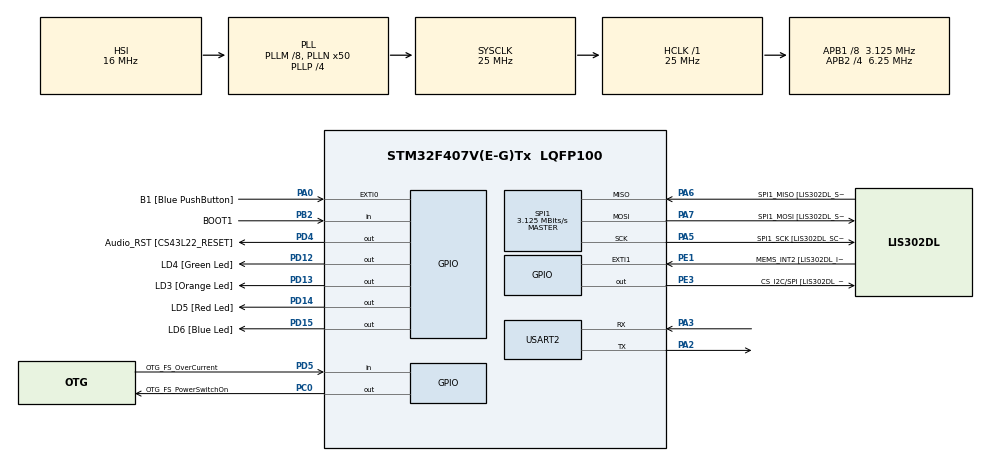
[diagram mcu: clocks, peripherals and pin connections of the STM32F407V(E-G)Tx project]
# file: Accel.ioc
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Mcu.Family=STM32F4
Mcu.Name=STM32F407V(E-G)Tx
Mcu.Package=LQFP100
NVIC.PriorityGroup=NVIC_PRIORITYGROUP_0
NVIC.SPI1_IRQn=true\:0\:0\:false\:false\:true
PA0-WKUP.GPIO_Label=B1 [Blue PushButton]
PA0-WKUP.GPIO_ModeDefaultEXTI=GPIO_MODE_EVT_RISING
PA0-WKUP.GPIO_PuPd=GPIO_NOPULL
PA0-WKUP.Signal=GPXTI0
PA10.GPIO_Label=OTG_FS_ID
PA10.GPIO_Mode=GPIO_MODE_AF_PP
PA10.GPIO_PuPd=GPIO_NOPULL
PA10.GPIO_Speed=GPIO_SPEED_FREQ_LOW
PA10.Signal=USB_OTG_FS_ID
PA11.GPIO_Label=OTG_FS_DM
PA11.GPIO_Mode=GPIO_MODE_AF_PP
PA11.GPIO_PuPd=GPIO_NOPULL
PA11.GPIO_Speed=GPIO_SPEED_FREQ_LOW
PA11.Signal=USB_OTG_FS_DM
PA12.GPIO_Label=OTG_FS_DP
PA12.GPIO_Mode=GPIO_MODE_AF_PP
PA12.GPIO_PuPd=GPIO_NOPULL
PA12.GPIO_Speed=GPIO_SPEED_FREQ_LOW
PA12.Signal=USB_OTG_FS_DP
PA13.GPIO_Label=SWDIO
PA13.Signal=SYS_JTMS-SWDIO
PA14.GPIO_Label=SWCLK
PA14.Signal=SYS_JTCK-SWCLK
PA2.Mode=Asynchronous
PA2.Signal=USART2_TX
PA3.Mode=Asynchronous
PA3.Signal=USART2_RX
PA4.GPIO_Label=I2S3_WS [CS43L22_LRCK]
PA4.GPIO_Mode=GPIO_MODE_AF_PP
PA4.GPIO_PuPd=GPIO_NOPULL
PA4.GPIO_Speed=GPIO_SPEED_FREQ_LOW
PA4.Signal=I2S3_WS
PA5.GPIO_Label=SPI1_SCK [LIS302DL_SCL/SPC]
PA5.GPIO_Mode=GPIO_MODE_AF_PP
PA5.GPIO_PuPd=GPIO_NOPULL
PA5.GPIO_Speed=GPIO_SPEED_FREQ_LOW
PA5.Mode=Full_Duplex_Master
PA5.Signal=SPI1_SCK
PA6.GPIO_Label=SPI1_MISO [LIS302DL_SDO]
PA6.GPIO_Mode=GPIO_MODE_AF_PP
PA6.GPIO_PuPd=GPIO_NOPULL
PA6.GPIO_Speed=GPIO_SPEED_FREQ_LOW
PA6.Mode=Full_Duplex_Master
PA6.Signal=SPI1_MISO
PA7.GPIO_Label=SPI1_MOSI [LIS302DL_SDA/SDI/SDO]
PA7.GPIO_Mode=GPIO_MODE_AF_PP
PA7.GPIO_PuPd=GPIO_NOPULL
PA7.GPIO_Speed=GPIO_SPEED_FREQ_LOW
PA7.Mode=Full_Duplex_Master
PA7.Signal=SPI1_MOSI
PA9.GPIO_Label=VBUS_FS
PA9.GPIO_Mode=GPIO_MODE_INPUT
PA9.GPIO_PuPd=GPIO_NOPULL
PA9.Signal=USB_OTG_FS_VBUS
PB10.GPIO_Label=CLK_IN [MP45DT02_CLK]
PB10.GPIO_Mode=GPIO_MODE_AF_PP
PB10.GPIO_PuPd=GPIO_NOPULL
PB10.GPIO_Speed=GPIO_SPEED_FREQ_LOW
PB10.Signal=I2S2_CK
PB2.GPIO_Label=BOOT1
PB2.GPIO_Mode=GPIO_MODE_INPUT
PB2.GPIO_PuPd=GPIO_NOPULL
PB2.Signal=GPIO_Input
PB3.GPIO_Label=SWO
PB3.Signal=SYS_JTDO-SWO
PB6.GPIO_Label=Audio_SCL [CS43L22_SCL]
PB6.GPIO_Mode=GPIO_MODE_AF_OD
PB6.GPIO_PuPd=GPIO_NOPULL
PB6.GPIO_Speed=GPIO_SPEED_FREQ_LOW
PB6.Signal=I2C1_SCL
PB9.GPIO_Label=Audio_SDA [CS43L22_SDA]
PB9.GPIO_Mode=GPIO_MODE_AF_OD
PB9.GPIO_PuPd=GPIO_NOPULL
PB9.GPIO_Speed=GPIO_SPEED_FREQ_LOW
PB9.Signal=I2C1_SDA
PC0.GPIO_Label=OTG_FS_PowerSwitchOn
PC0.GPIO_PuPd=GPIO_NOPULL
PC0.GPIO_Speed=GPIO_SPEED_FREQ_LOW
PC0.PinState=GPIO_PIN_SET
PC0.Signal=GPIO_Output
PC10.GPIO_Label=I2S3_SCK [CS43L22_SCLK]
PC10.GPIO_Mode=GPIO_MODE_AF_PP
PC10.GPIO_PuPd=GPIO_NOPULL
PC10.GPIO_Speed=GPIO_SPEED_FREQ_LOW
PC10.Signal=I2S3_CK
PC12.GPIO_Label=I2S3_SD [CS43L22_SDIN]
PC12.GPIO_Mode=GPIO_MODE_AF_PP
PC12.GPIO_PuPd=GPIO_NOPULL
PC12.GPIO_Speed=GPIO_SPEED_FREQ_LOW
PC12.Signal=I2S3_SD
PC14-OSC32_IN.GPIO_Label=PC14-OSC32_IN
PC14-OSC32_IN.Signal=RCC_OSC32_IN
PC15-OSC32_OUT.GPIO_Label=PC15-OSC32_OUT
PC15-OSC32_OUT.Signal=RCC_OSC32_OUT
PC3.GPIO_Label=PDM_OUT [MP45DT02_DOUT]
PC3.GPIO_Mode=GPIO_MODE_AF_PP
PC3.GPIO_PuPd=GPIO_NOPULL
PC3.GPIO_Speed=GPIO_SPEED_FREQ_LOW
PC3.Signal=I2S2_SD
PC7.GPIO_Label=I2S3_MCK [CS43L22_MCLK]
PC7.GPIO_Mode=GPIO_MODE_AF_PP
PC7.GPIO_PuPd=GPIO_NOPULL
PC7.GPIO_Speed=GPIO_SPEED_FREQ_LOW
PC7.Signal=I2S3_MCK
PD12.GPIO_Label=LD4 [Green Led]
PD12.GPIO_PuPd=GPIO_NOPULL
PD12.GPIO_Speed=GPIO_SPEED_FREQ_LOW
PD12.Signal=GPIO_Output
PD13.GPIO_Label=LD3 [Orange Led]
PD13.GPIO_PuPd=GPIO_NOPULL
PD13.GPIO_Speed=GPIO_SPEED_FREQ_LOW
PD13.Signal=GPIO_Output
PD14.GPIO_Label=LD5 [Red Led]
PD14.GPIO_PuPd=GPIO_NOPULL
PD14.GPIO_Speed=GPIO_SPEED_FREQ_LOW
PD14.Signal=GPIO_Output
PD15.GPIO_Label=LD6 [Blue Led]
PD15.GPIO_PuPd=GPIO_NOPULL
PD15.GPIO_Speed=GPIO_SPEED_FREQ_LOW
PD15.Signal=GPIO_Output
PD4.GPIO_Label=Audio_RST [CS43L22_RESET]
PD4.GPIO_PuPd=GPIO_NOPULL
PD4.GPIO_Speed=GPIO_SPEED_FREQ_LOW
PD4.Signal=GPIO_Output
PD5.GPIO_Label=OTG_FS_OverCurrent
PD5.GPIO_Mode=GPIO_MODE_INPUT
PD5.GPIO_PuPd=GPIO_NOPULL
PD5.Signal=GPIO_Input
PE1.GPIO_Label=MEMS_INT2 [LIS302DL_INT2]
PE1.GPIO_ModeDefaultEXTI=GPIO_MODE_EVT_RISING
PE1.GPIO_PuPd=GPIO_NOPULL
PE1.Signal=GPXTI1
PE3.GPIO_Label=CS_I2C/SPI [LIS302DL_CS_I2C/SPI]
PE3.GPIO_PuPd=GPIO_NOPULL
PE3.GPIO_Speed=GPIO_SPEED_FREQ_LOW
PE3.Signal=GPIO_Output
PH0-OSC_IN.GPIO_Label=PH0-OSC_IN
PH0-OSC_IN.Signal=RCC_OSC_IN
PH1-OSC_OUT.GPIO_Label=PH1-OSC_OUT
PH1-OSC_OUT.Signal=RCC_OSC_OUT
ProjectManager.HeapSize=0x200
ProjectManager.StackSize=0x400
ProjectManager.TargetToolchain=SW4STM32
RCC.48MHZClocksFreq_Value=14285714.285714285
RCC.AHBFreq_Value=25000000
RCC.APB1CLKDivider=RCC_HCLK_DIV8
RCC.APB1Freq_Value=3125000
RCC.APB1TimFreq_Value=6250000
RCC.APB2CLKDivider=RCC_HCLK_DIV4
RCC.APB2Freq_Value=6250000
RCC.APB2TimFreq_Value=12500000
RCC.CortexFreq_Value=25000000
RCC.HCLKFreq_Value=25000000
RCC.HSE_VALUE=8000000
RCC.HSI_VALUE=16000000
RCC.LSE_VALUE=32768
RCC.PLLM=8
RCC.PLLN=50
RCC.PLLP=RCC_PLLP_DIV4
RCC.PLLQ=7
RCC.SYSCLKFreq_VALUE=25000000
RCC.SYSCLKSource=RCC_SYSCLKSOURCE_PLLCLK
RCC.VCOOutputFreq_Value=100000000
SPI1.CalculateBaudRate=3.125 MBits/s
SPI1.Mode=SPI_MODE_MASTER
board=STM32F4DISCOVERY

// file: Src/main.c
/**
  ******************************************************************************
  * File Name          : main.c
  * Description        : Main program body
  ******************************************************************************
  *
  * COPYRIGHT(c) 2016 STMicroelectronics
  *
  * Redistribution and use in source and binary forms, with or without modification,
  * are permitted provided that the following conditions are met:
  *   1. Redistributions of source code must retain the above copyright notice,
  *      this list of conditions and the following disclaimer.
  *   2. Redistributions in binary form must reproduce the above copyright notice,
  *      this list of conditions and the following disclaimer in the documentation
  *      and/or other materials provided with the distribution.
  *   3. Neither the name of STMicroelectronics nor the names of its contributors
  *      may be used to endorse or promote products derived from this software
  *      without specific prior written permission.
  *
  * THIS SOFTWARE IS PROVIDED BY THE COPYRIGHT HOLDERS AND CONTRIBUTORS "AS IS"
  * AND ANY EXPRESS OR IMPLIED WARRANTIES, INCLUDING, BUT NOT LIMITED TO, THE
  * IMPLIED WARRANTIES OF MERCHANTABILITY AND FITNESS FOR A PARTICULAR PURPOSE ARE
  * DISCLAIMED. IN NO EVENT SHALL THE COPYRIGHT HOLDER OR CONTRIBUTORS BE LIABLE
  * FOR ANY DIRECT, INDIRECT, INCIDENTAL, SPECIAL, EXEMPLARY, OR CONSEQUENTIAL
  * DAMAGES (INCLUDING, BUT NOT LIMITED TO, PROCUREMENT OF SUBSTITUTE GOODS OR
  * SERVICES; LOSS OF USE, DATA, OR PROFITS; OR BUSINESS INTERRUPTION) HOWEVER
  * CAUSED AND ON ANY THEORY OF LIABILITY, WHETHER IN CONTRACT, STRICT LIABILITY,
  * OR TORT (INCLUDING NEGLIGENCE OR OTHERWISE) ARISING IN ANY WAY OUT OF THE USE
  * OF THIS SOFTWARE, EVEN IF ADVISED OF THE POSSIBILITY OF SUCH DAMAGE.
  *
  ******************************************************************************
  */
#include "main.h"
#include "stm32f4xx_hal.h"

SPI_HandleTypeDef hspi1;

UART_HandleTypeDef huart2;

/* USER CODE BEGIN PV */
/* Private variables ---------------------------------------------------------*/

/* USER CODE END PV */

void SystemClock_Config(void);
void Error_Handler(void);
static void MX_GPIO_Init(void);
static void MX_SPI1_Init(void);
static void MX_USART2_UART_Init(void);

/* USER CODE BEGIN PFP */
/* Private function prototypes -----------------------------------------------*/

/* USER CODE END PFP */

int main(void)
{

  /* MCU Configuration----------------------------------------------------------*/

  /* Reset of all peripherals, Initializes the Flash interface and the Systick. */
  HAL_Init();

  /* Configure the system clock */
  SystemClock_Config();

  /* Initialize all configured peripherals */
  MX_GPIO_Init();
  MX_SPI1_Init();
  MX_USART2_UART_Init();

  /* USER CODE BEGIN 2 */
  uint8_t addr; //use to keep address of Register
  uint8_t data; // use to keep data that want to send
  uint8_t x,y,z; // represent value from each
  uint8_t buf; // buffer use in sprintf

  HAL_GPIO_WritePin(GPIOE,GPIO_PIN_3,GPIO_PIN_RESET);//because PE3 is CS of SPI(RESET)/I2C(SET)
  addr=0x20;  //address CTRL_REG1 @20h
  HAL_SPI_Transmit(&hspi1,&addr,1,100);//send address
//  data=0x67;  //set value for CTRL_REG1 #01100111
  data=0x67;  // 01000111 from DR=0, PD=1, FS=0,STP=0,STM=0,Zen=1,Yen=1,Xen=1
  HAL_SPI_Transmit(&hspi1,&data,1,100);//send data
  HAL_GPIO_WritePin(GPIOE,GPIO_PIN_3,GPIO_PIN_SET);
  /* USER CODE END 2 */
  /* Infinite loop */
  while (1)
  {
  /* USER CODE BEGIN 3 */
	  /*Get value from Accelerometer*/
	  HAL_GPIO_WritePin(GPIOE,GPIO_PIN_3,GPIO_PIN_RESET); //Bring CS Pin low to activate Slave device

	  addr = 0x29+ 0x80;
	  HAL_SPI_Transmit(&hspi1,&addr,1,50);//means want to read from 0x29 (Reg OutX)
	  HAL_SPI_Receive(&hspi1,&x,1,50); // get x-axis value

	  addr= 0x2B+ 0x80;
	  HAL_SPI_Transmit(&hspi1,&addr,1,50);//means want to read from 0x2B (Reg OutY)
	  HAL_SPI_Receive(&hspi1,&y,1,50);//get y-axis value

	  addr = 0x2D+ 0x80;
	  HAL_SPI_Transmit(&hspi1,&addr,1,50);//means want to read from 0x2D (Reg OutZ)
	  HAL_SPI_Receive(&hspi1,&z,1,50);//get z-axis value

	  HAL_GPIO_WritePin(GPIOE,GPIO_PIN_3,GPIO_PIN_SET);

      //convert to g scale
	  float xx,yy,zz;
	  if(x<=127) xx=x/64.0;
	  else xx=(x-255)/64.0;
	  if(y<=127) yy=y/64.0;
	  else yy=(y-255)/64.0;
	  if(z<=127) zz=z/64.0;
	  else zz=(z-255)/64.0;

	  char buff[10];

	  int n = sprintf(&buf,"x= ");
	  HAL_UART_Transmit(&huart2,&buf,n,100); //show value x
	  gcvt(xx,10,buff);
	  HAL_UART_Transmit(&huart2,buff,5,100);

	  n = sprintf(&buf," y= ");
	  HAL_UART_Transmit(&huart2,&buf,n,100); //show value y
	  gcvt(yy,10,buff);
	  HAL_UART_Transmit(&huart2,buff,5,100);

	  n = sprintf(&buf," z= ");
	  HAL_UART_Transmit(&huart2,&buf,n,100); // show value z
	  gcvt(zz,10,buff);
	  HAL_UART_Transmit(&huart2,buff,5,100);
	  HAL_UART_Transmit(&huart2,"\n\r",2,100);

	  HAL_Delay(100);
  }
  /* USER CODE END 3 */

}//end main

/** System Clock Configuration
*/
void SystemClock_Config(void)
{

  RCC_OscInitTypeDef RCC_OscInitStruct;
  RCC_ClkInitTypeDef RCC_ClkInitStruct;

    /**Configure the main internal regulator output voltage
    */
  __HAL_RCC_PWR_CLK_ENABLE();

  __HAL_PWR_VOLTAGESCALING_CONFIG(PWR_REGULATOR_VOLTAGE_SCALE1);

    /**Initializes the CPU, AHB and APB busses clocks
    */
  RCC_OscInitStruct.OscillatorType = RCC_OSCILLATORTYPE_HSI;
  RCC_OscInitStruct.HSIState = RCC_HSI_ON;
  RCC_OscInitStruct.HSICalibrationValue = 16;
  RCC_OscInitStruct.PLL.PLLState = RCC_PLL_ON;
  RCC_OscInitStruct.PLL.PLLSource = RCC_PLLSOURCE_HSI;
  RCC_OscInitStruct.PLL.PLLM = 8;
  RCC_OscInitStruct.PLL.PLLN = 50;
  RCC_OscInitStruct.PLL.PLLP = RCC_PLLP_DIV4;
  RCC_OscInitStruct.PLL.PLLQ = 7;
  if (HAL_RCC_OscConfig(&RCC_OscInitStruct) != HAL_OK)
  {
    Error_Handler();
  }

    /**Initializes the CPU, AHB and APB busses clocks
    */
  RCC_ClkInitStruct.ClockType = RCC_CLOCKTYPE_HCLK|RCC_CLOCKTYPE_SYSCLK
                              |RCC_CLOCKTYPE_PCLK1|RCC_CLOCKTYPE_PCLK2;
  RCC_ClkInitStruct.SYSCLKSource = RCC_SYSCLKSOURCE_PLLCLK;
  RCC_ClkInitStruct.AHBCLKDivider = RCC_SYSCLK_DIV1;
  RCC_ClkInitStruct.APB1CLKDivider = RCC_HCLK_DIV8;
  RCC_ClkInitStruct.APB2CLKDivider = RCC_HCLK_DIV4;

  if (HAL_RCC_ClockConfig(&RCC_ClkInitStruct, FLASH_LATENCY_0) != HAL_OK)
  {
    Error_Handler();
  }

    /**Configure the Systick interrupt time
    */
  HAL_SYSTICK_Config(HAL_RCC_GetHCLKFreq()/1000);

    /**Configure the Systick
    */
  HAL_SYSTICK_CLKSourceConfig(SYSTICK_CLKSOURCE_HCLK);

  /* SysTick_IRQn interrupt configuration */
  HAL_NVIC_SetPriority(SysTick_IRQn, 0, 0);
}

/* SPI1 init function */
static void MX_SPI1_Init(void)
{

  hspi1.Instance = SPI1;
  hspi1.Init.Mode = SPI_MODE_MASTER;
  hspi1.Init.Direction = SPI_DIRECTION_2LINES;
  hspi1.Init.DataSize = SPI_DATASIZE_8BIT;
  hspi1.Init.CLKPolarity = SPI_POLARITY_LOW;
  hspi1.Init.CLKPhase = SPI_PHASE_1EDGE;
  hspi1.Init.NSS = SPI_NSS_SOFT;
  hspi1.Init.BaudRatePrescaler = SPI_BAUDRATEPRESCALER_2;
  hspi1.Init.FirstBit = SPI_FIRSTBIT_MSB;
  hspi1.Init.TIMode = SPI_TIMODE_DISABLE;
  hspi1.Init.CRCCalculation = SPI_CRCCALCULATION_DISABLE;
  hspi1.Init.CRCPolynomial = 10;
  if (HAL_SPI_Init(&hspi1) != HAL_OK)
  {
    Error_Handler();
  }

}

/* USART2 init function */
static void MX_USART2_UART_Init(void)
{

  huart2.Instance = USART2;
  huart2.Init.BaudRate = 115200;
  huart2.Init.WordLength = UART_WORDLENGTH_8B;
  huart2.Init.StopBits = UART_STOPBITS_1;
  huart2.Init.Parity = UART_PARITY_NONE;
  huart2.Init.Mode = UART_MODE_TX_RX;
  huart2.Init.HwFlowCtl = UART_HWCONTROL_NONE;
  huart2.Init.OverSampling = UART_OVERSAMPLING_16;
  if (HAL_UART_Init(&huart2) != HAL_OK)
  {
    Error_Handler();
  }

}

/** Configure pins as
        * Analog
        * Input
        * Output
        * EVENT_OUT
        * EXTI
     PC3   ------> I2S2_SD
     PA4   ------> I2S3_WS
     PB10   ------> I2S2_CK
     PC7   ------> I2S3_MCK
     PA9   ------> USB_OTG_FS_VBUS
     PA10   ------> USB_OTG_FS_ID
     PA11   ------> USB_OTG_FS_DM
     PA12   ------> USB_OTG_FS_DP
     PC10   ------> I2S3_CK
     PC12   ------> I2S3_SD
     PB6   ------> I2C1_SCL
     PB9   ------> I2C1_SDA
*/
static void MX_GPIO_Init(void)
{

  GPIO_InitTypeDef GPIO_InitStruct;

  /* GPIO Ports Clock Enable */
  __HAL_RCC_GPIOE_CLK_ENABLE();
  __HAL_RCC_GPIOC_CLK_ENABLE();
  __HAL_RCC_GPIOH_CLK_ENABLE();
  __HAL_RCC_GPIOA_CLK_ENABLE();
  __HAL_RCC_GPIOB_CLK_ENABLE();
  __HAL_RCC_GPIOD_CLK_ENABLE();

  /*Configure GPIO pin Output Level */
  HAL_GPIO_WritePin(CS_I2C_SPI_GPIO_Port, CS_I2C_SPI_Pin, GPIO_PIN_RESET);

  /*Configure GPIO pin Output Level */
  HAL_GPIO_WritePin(OTG_FS_PowerSwitchOn_GPIO_Port, OTG_FS_PowerSwitchOn_Pin, GPIO_PIN_SET);

  /*Configure GPIO pin Output Level */
  HAL_GPIO_WritePin(GPIOD, LD4_Pin|LD3_Pin|LD5_Pin|LD6_Pin
                          |Audio_RST_Pin, GPIO_PIN_RESET);

  /*Configure GPIO pin : CS_I2C_SPI_Pin */
  GPIO_InitStruct.Pin = CS_I2C_SPI_Pin;
  GPIO_InitStruct.Mode = GPIO_MODE_OUTPUT_PP;
  GPIO_InitStruct.Pull = GPIO_NOPULL;
  GPIO_InitStruct.Speed = GPIO_SPEED_FREQ_LOW;
  HAL_GPIO_Init(CS_I2C_SPI_GPIO_Port, &GPIO_InitStruct);

  /*Configure GPIO pin : OTG_FS_PowerSwitchOn_Pin */
  GPIO_InitStruct.Pin = OTG_FS_PowerSwitchOn_Pin;
  GPIO_InitStruct.Mode = GPIO_MODE_OUTPUT_PP;
  GPIO_InitStruct.Pull = GPIO_NOPULL;
  GPIO_InitStruct.Speed = GPIO_SPEED_FREQ_LOW;
  HAL_GPIO_Init(OTG_FS_PowerSwitchOn_GPIO_Port, &GPIO_InitStruct);

  /*Configure GPIO pin : PDM_OUT_Pin */
  GPIO_InitStruct.Pin = PDM_OUT_Pin;
  GPIO_InitStruct.Mode = GPIO_MODE_AF_PP;
  GPIO_InitStruct.Pull = GPIO_NOPULL;
  GPIO_InitStruct.Speed = GPIO_SPEED_FREQ_LOW;
  GPIO_InitStruct.Alternate = GPIO_AF5_SPI2;
  HAL_GPIO_Init(PDM_OUT_GPIO_Port, &GPIO_InitStruct);

  /*Configure GPIO pin : B1_Pin */
  GPIO_InitStruct.Pin = B1_Pin;
  GPIO_InitStruct.Mode = GPIO_MODE_EVT_RISING;
  GPIO_InitStruct.Pull = GPIO_NOPULL;
  HAL_GPIO_Init(B1_GPIO_Port, &GPIO_InitStruct);

  /*Configure GPIO pin : I2S3_WS_Pin */
  GPIO_InitStruct.Pin = I2S3_WS_Pin;
  GPIO_InitStruct.Mode = GPIO_MODE_AF_PP;
  GPIO_InitStruct.Pull = GPIO_NOPULL;
  GPIO_InitStruct.Speed = GPIO_SPEED_FREQ_LOW;
  GPIO_InitStruct.Alternate = GPIO_AF6_SPI3;
  HAL_GPIO_Init(I2S3_WS_GPIO_Port, &GPIO_InitStruct);

  /*Configure GPIO pin : BOOT1_Pin */
  GPIO_InitStruct.Pin = BOOT1_Pin;
  GPIO_InitStruct.Mode = GPIO_MODE_INPUT;
  GPIO_InitStruct.Pull = GPIO_NOPULL;
  HAL_GPIO_Init(BOOT1_GPIO_Port, &GPIO_InitStruct);

  /*Configure GPIO pin : CLK_IN_Pin */
  GPIO_InitStruct.Pin = CLK_IN_Pin;
  GPIO_InitStruct.Mode = GPIO_MODE_AF_PP;
  GPIO_InitStruct.Pull = GPIO_NOPULL;
  GPIO_InitStruct.Speed = GPIO_SPEED_FREQ_LOW;
  GPIO_InitStruct.Alternate = GPIO_AF5_SPI2;
  HAL_GPIO_Init(CLK_IN_GPIO_Port, &GPIO_InitStruct);

  /*Configure GPIO pins : LD4_Pin LD3_Pin LD5_Pin LD6_Pin
                           Audio_RST_Pin */
  GPIO_InitStruct.Pin = LD4_Pin|LD3_Pin|LD5_Pin|LD6_Pin
                          |Audio_RST_Pin;
  GPIO_InitStruct.Mode = GPIO_MODE_OUTPUT_PP;
  GPIO_InitStruct.Pull = GPIO_NOPULL;
  GPIO_InitStruct.Speed = GPIO_SPEED_FREQ_LOW;
  HAL_GPIO_Init(GPIOD, &GPIO_InitStruct);

  /*Configure GPIO pins : I2S3_MCK_Pin I2S3_SCK_Pin I2S3_SD_Pin */
  GPIO_InitStruct.Pin = I2S3_MCK_Pin|I2S3_SCK_Pin|I2S3_SD_Pin;
  GPIO_InitStruct.Mode = GPIO_MODE_AF_PP;
  GPIO_InitStruct.Pull = GPIO_NOPULL;
  GPIO_InitStruct.Speed = GPIO_SPEED_FREQ_LOW;
  GPIO_InitStruct.Alternate = GPIO_AF6_SPI3;
  HAL_GPIO_Init(GPIOC, &GPIO_InitStruct);

  /*Configure GPIO pin : VBUS_FS_Pin */
  GPIO_InitStruct.Pin = VBUS_FS_Pin;
  GPIO_InitStruct.Mode = GPIO_MODE_INPUT;
  GPIO_InitStruct.Pull = GPIO_NOPULL;
  HAL_GPIO_Init(VBUS_FS_GPIO_Port, &GPIO_InitStruct);

  /*Configure GPIO pins : OTG_FS_ID_Pin OTG_FS_DM_Pin OTG_FS_DP_Pin */
  GPIO_InitStruct.Pin = OTG_FS_ID_Pin|OTG_FS_DM_Pin|OTG_FS_DP_Pin;
  GPIO_InitStruct.Mode = GPIO_MODE_AF_PP;
  GPIO_InitStruct.Pull = GPIO_NOPULL;
  GPIO_InitStruct.Speed = GPIO_SPEED_FREQ_LOW;
  GPIO_InitStruct.Alternate = GPIO_AF10_OTG_FS;
  HAL_GPIO_Init(GPIOA, &GPIO_InitStruct);

  /*Configure GPIO pin : OTG_FS_OverCurrent_Pin */
  GPIO_InitStruct.Pin = OTG_FS_OverCurrent_Pin;
  GPIO_InitStruct.Mode = GPIO_MODE_INPUT;
  GPIO_InitStruct.Pull = GPIO_NOPULL;
  HAL_GPIO_Init(OTG_FS_OverCurrent_GPIO_Port, &GPIO_InitStruct);

  /*Configure GPIO pins : Audio_SCL_Pin Audio_SDA_Pin */
  GPIO_InitStruct.Pin = Audio_SCL_Pin|Audio_SDA_Pin;
  GPIO_InitStruct.Mode = GPIO_MODE_AF_OD;
  GPIO_InitStruct.Pull = GPIO_PULLUP;
  GPIO_InitStruct.Speed = GPIO_SPEED_FREQ_LOW;
  GPIO_InitStruct.Alternate = GPIO_AF4_I2C1;
  HAL_GPIO_Init(GPIOB, &GPIO_InitStruct);

  /*Configure GPIO pin : MEMS_INT2_Pin */
  GPIO_InitStruct.Pin = MEMS_INT2_Pin;
  GPIO_InitStruct.Mode = GPIO_MODE_EVT_RISING;
  GPIO_InitStruct.Pull = GPIO_NOPULL;
  HAL_GPIO_Init(MEMS_INT2_GPIO_Port, &GPIO_InitStruct);

}

void Error_Handler(void)
{
  while(1)
  {
  }
}

/************************ (C) COPYRIGHT STMicroelectronics *****END OF FILE****/
